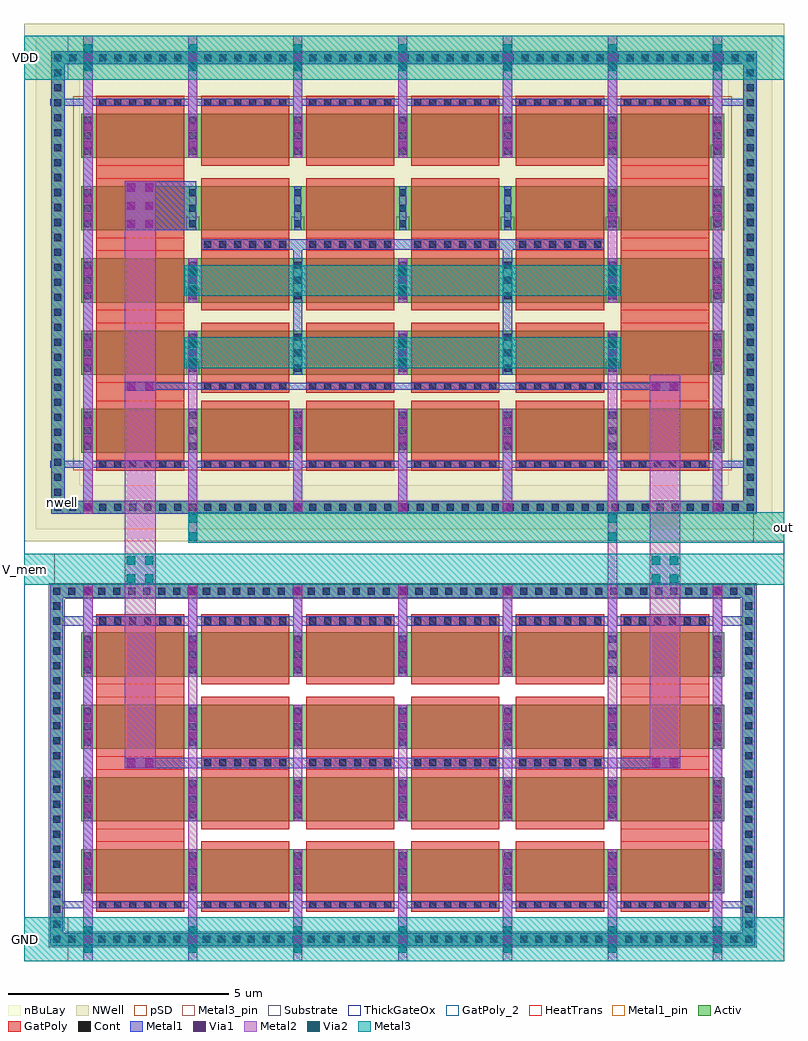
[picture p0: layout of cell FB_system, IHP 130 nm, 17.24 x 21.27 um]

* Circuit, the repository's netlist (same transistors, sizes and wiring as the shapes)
** sch_path: /foss/designs/adex_neuron/chenxi_working/ttihp26a-adex-neuron-ncs/xschem/FB_system.sch
.subckt FB_system VDD out V_mem GND nwell psub
*.PININFO out:O V_mem:B VDD:B GND:B nwell:B psub:B
Mmirr Vmir Vmir VDD nwell sg13_hv_pmos w=4u l=2u ng=4
Mmirl4 V_mem Vmir net1 nwell sg13_hv_pmos w=1u l=2u ng=1
Mthr out V_mem Vmir nwell sg13_hv_pmos w=4u l=2u ng=4
Mmem1 out V_mem net2 psub sg13_hv_nmos w=1u l=2u ng=1 m=2
Mmirl3 net1 Vmir net3 nwell sg13_hv_pmos w=1u l=2u ng=1
Mmirl2 net3 Vmir net4 nwell sg13_hv_pmos w=1u l=2u ng=1
Mmirl1 net4 Vmir VDD nwell sg13_hv_pmos w=1u l=2u ng=1
Mmem2 net2 V_mem net5 psub sg13_hv_nmos w=1u l=2u ng=1 m=2
Mmem3 net5 V_mem net6 psub sg13_hv_nmos w=1u l=2u ng=1 m=2
Mmem4 net6 V_mem GND psub sg13_hv_nmos w=1u l=2u ng=1 m=2
Mdum1 GND GND GND psub sg13_hv_nmos w=6u l=2u ng=6 m=2
Mdum2 GND GND GND psub sg13_hv_nmos w=1u l=2u ng=1 m=2
Mdum3 out GND GND psub sg13_hv_nmos w=1u l=2u ng=1 m=2
Mdum4 VDD VDD VDD nwell sg13_hv_pmos w=6u l=2u ng=6 m=2
Mdum5 VDD VDD VDD nwell sg13_hv_pmos w=1u l=2u ng=1 m=3
Mdum6 out VDD VDD nwell sg13_hv_pmos w=1u l=2u ng=1 m=2
Mdum7 V_mem VDD VDD nwell sg13_hv_pmos w=1u l=2u ng=1
R1 VDD nwell ntap1 A=1.554e-11 P=0.0001036
R2 GND psub ptap1 A=1.416e-11 P=9.44e-05
.ends

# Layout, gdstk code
from math import pi, radians
import gdstk
lib = gdstk.Library(unit=1e-6, precision=1e-09)
def R(c, l, rs):  # rectangles x0, y0, x1, y1
    for r in rs: c.add(gdstk.rectangle(r[:2], r[2:], *l))
def A(c, l, x, y, w, h, nx, ny, dx, dy):  # array of equal rectangles
    R(c, l, [(x+i*dx, y+j*dy, x+i*dx+w, y+j*dy+h) for i in range(nx) for j in range(ny)])
def P(c, l, *ps):  # polygons
    for p in ps: c.add(gdstk.Polygon(p, *l))
Activ = (1, 0)
GatPoly = (5, 0)
GatPoly_2 = (5, 2)
Cont = (6, 0)
Metal1 = (8, 0)
Metal1_pin = (8, 2)
Metal2 = (10, 0)
pSD = (14, 0)
Via1 = (19, 0)
Via2 = (29, 0)
Metal3 = (30, 0)
Metal3_pin = (30, 2)
NWell = (31, 0)
nBuLay = (32, 0)
Substrate = (40, 0)
ThickGateOx = (44, 0)
HeatTrans = (51, 0)

pmoshv = lib.new_cell('pmosHV')
R(pmoshv, Activ, [(0,0,0.3,0.3), (0,0,2.68,1), (2.38,0,2.68,0.3)])
R(pmoshv, GatPoly, [(0.34,-0.18,2.34,1.18)])
R(pmoshv, GatPoly_2, [(0.34,-0.18,2.34,1.18)])
A(pmoshv, Cont, 0.07, 0.07, 0.16, 0.16, 1, 3, 0, 0.35)
A(pmoshv, Cont, 2.45, 0.07, 0.16, 0.16, 1, 3, 0, 0.35)
R(pmoshv, Metal1, [(0.07,0,0.23,1), (2.45,0,2.61,1)])
R(pmoshv, Metal1_pin, [(0.07,0,0.23,1), (2.45,0,2.61,1)])
R(pmoshv, pSD, [(-0.18,-0.4,2.86,1.4)])
R(pmoshv, NWell, [(-0.62,-0.62,3.3,1.62)])
R(pmoshv, Substrate, [(2.38,0,2.68,0.3)])
R(pmoshv, ThickGateOx, [(-0.62,-0.62,3.3,1.62)])
R(pmoshv, HeatTrans, [(0.34,-0.18,2.34,1.18)])
pmoshv.add(gdstk.Label('pmosHV', (1.34,0.5), layer=63, texttype=0))
pmoshv.add(gdstk.Label('pmos', (1.34,0.5), layer=51, texttype=0))

nmoshv_1 = lib.new_cell('nmosHV$1')
R(nmoshv_1, Activ, [(0,0,0.3,0.3), (0,0,2.68,1), (2.38,0,2.68,0.3)])
R(nmoshv_1, GatPoly, [(0.34,-0.18,2.34,1.18)])
R(nmoshv_1, GatPoly_2, [(0.34,-0.18,2.34,1.18)])
A(nmoshv_1, Cont, 0.07, 0.07, 0.16, 0.16, 1, 3, 0, 0.35)
A(nmoshv_1, Cont, 2.45, 0.07, 0.16, 0.16, 1, 3, 0, 0.35)
R(nmoshv_1, Metal1, [(0.07,0,0.23,1), (2.45,0,2.61,1)])
R(nmoshv_1, Metal1_pin, [(0.07,0,0.23,1), (2.45,0,2.61,1)])
R(nmoshv_1, ThickGateOx, [(-0.27,-0.52,2.95,1.52)])
R(nmoshv_1, HeatTrans, [(0.34,-0.18,2.34,1.18)])
nmoshv_1.add(gdstk.Label('nmosHV', (1.34,0.5), layer=63, texttype=0))
nmoshv_1.add(gdstk.Label('nmosHV', (1.34,0.5), layer=51, texttype=0))

pmoshv_1 = lib.new_cell('pmosHV$1')
A(pmoshv_1, Activ, 0, 0, 0.3, 0.3, 5, 1, 2.38, 0)
R(pmoshv_1, Activ, [(0,0,9.82,1)])
A(pmoshv_1, GatPoly, 0.34, -0.18, 2, 1.36, 4, 1, 2.38, 0)
R(pmoshv_1, GatPoly_2, [(0.34,-0.18,2.34,1.18)])
A(pmoshv_1, Cont, 0.07, 0.07, 0.16, 0.16, 5, 3, 2.38, 0.35)
A(pmoshv_1, Metal1, 0.07, 0, 0.16, 1, 5, 1, 2.38, 0)
R(pmoshv_1, Metal1_pin, [(0.07,0,0.23,1), (2.45,0,2.61,1)])
R(pmoshv_1, pSD, [(-0.18,-0.4,10,1.4)])
R(pmoshv_1, NWell, [(-0.62,-0.62,10.44,1.62)])
R(pmoshv_1, Substrate, [(9.52,0,9.82,0.3)])
R(pmoshv_1, ThickGateOx, [(-0.62,-0.62,10.44,1.62)])
A(pmoshv_1, HeatTrans, 0.34, -0.18, 2, 1.36, 4, 1, 2.38, 0)
pmoshv_1.add(gdstk.Label('pmosHV', (1.34,0.5), layer=63, texttype=0))
pmoshv_1.add(gdstk.Label('pmos', (1.34,0.5), layer=51, texttype=0))
pmoshv_1.add(gdstk.Label('pmos', (3.72,0.5), layer=51, texttype=0))
pmoshv_1.add(gdstk.Label('pmos', (6.1,0.5), layer=51, texttype=0))
pmoshv_1.add(gdstk.Label('pmos', (8.48,0.5), layer=51, texttype=0))

via_stack_2 = lib.new_cell('via_stack$2')
R(via_stack_2, Metal1, [(-0.105,-0.35,0.105,0.35)])
R(via_stack_2, Metal2, [(-0.1,-0.35,0.1,0.35)])
R(via_stack_2, Via1, [(-0.095,-0.3,0.095,-0.11), (-0.095,0.11,0.095,0.3)])

pmoshv_3 = lib.new_cell('pmosHV$3')
A(pmoshv_3, Activ, 0, 0, 0.3, 0.3, 7, 1, 2.38, 0)
R(pmoshv_3, Activ, [(0,0,14.58,1)])
A(pmoshv_3, GatPoly, 0.34, -0.18, 2, 1.36, 6, 1, 2.38, 0)
R(pmoshv_3, GatPoly_2, [(0.34,-0.18,2.34,1.18)])
A(pmoshv_3, Cont, 0.07, 0.07, 0.16, 0.16, 7, 3, 2.38, 0.35)
A(pmoshv_3, Metal1, 0.07, 0, 0.16, 1, 7, 1, 2.38, 0)
R(pmoshv_3, Metal1_pin, [(0.07,0,0.23,1), (2.45,0,2.61,1)])
R(pmoshv_3, pSD, [(-0.18,-0.4,14.76,1.4)])
R(pmoshv_3, NWell, [(-0.62,-0.62,15.2,1.62)])
R(pmoshv_3, Substrate, [(14.28,0,14.58,0.3)])
R(pmoshv_3, ThickGateOx, [(-0.62,-0.62,15.2,1.62)])
A(pmoshv_3, HeatTrans, 0.34, -0.18, 2, 1.36, 6, 1, 2.38, 0)
pmoshv_3.add(gdstk.Label('pmosHV', (1.34,0.5), layer=63, texttype=0))
pmoshv_3.add(gdstk.Label('pmos', (1.34,0.5), layer=51, texttype=0))
pmoshv_3.add(gdstk.Label('pmos', (3.72,0.5), layer=51, texttype=0))
pmoshv_3.add(gdstk.Label('pmos', (6.1,0.5), layer=51, texttype=0))
pmoshv_3.add(gdstk.Label('pmos', (8.48,0.5), layer=51, texttype=0))
pmoshv_3.add(gdstk.Label('pmos', (10.86,0.5), layer=51, texttype=0))
pmoshv_3.add(gdstk.Label('pmos', (13.24,0.5), layer=51, texttype=0))

nmoshv_2 = lib.new_cell('nmosHV$2')
A(nmoshv_2, Activ, 0, 0, 0.3, 0.3, 7, 1, 2.38, 0)
R(nmoshv_2, Activ, [(0,0,14.58,1)])
A(nmoshv_2, GatPoly, 0.34, -0.18, 2, 1.36, 6, 1, 2.38, 0)
R(nmoshv_2, GatPoly_2, [(0.34,-0.18,2.34,1.18)])
A(nmoshv_2, Cont, 0.07, 0.07, 0.16, 0.16, 7, 3, 2.38, 0.35)
A(nmoshv_2, Metal1, 0.07, 0, 0.16, 1, 7, 1, 2.38, 0)
R(nmoshv_2, Metal1_pin, [(0.07,0,0.23,1), (2.45,0,2.61,1)])
R(nmoshv_2, ThickGateOx, [(-0.27,-0.52,14.85,1.52)])
A(nmoshv_2, HeatTrans, 0.34, -0.18, 2, 1.36, 6, 1, 2.38, 0)
nmoshv_2.add(gdstk.Label('nmosHV', (1.34,0.5), layer=63, texttype=0))
nmoshv_2.add(gdstk.Label('nmosHV', (1.34,0.5), layer=51, texttype=0))
nmoshv_2.add(gdstk.Label('nmosHV', (3.72,0.5), layer=51, texttype=0))
nmoshv_2.add(gdstk.Label('nmosHV', (6.1,0.5), layer=51, texttype=0))
nmoshv_2.add(gdstk.Label('nmosHV', (8.48,0.5), layer=51, texttype=0))
nmoshv_2.add(gdstk.Label('nmosHV', (10.86,0.5), layer=51, texttype=0))
nmoshv_2.add(gdstk.Label('nmosHV', (13.24,0.5), layer=51, texttype=0))

guard_ring = lib.new_cell('guard_ring')
R(guard_ring, Activ, [(-8,-3.8,-7.7,3.8), (7.7,-3.8,8,3.8), (-8,3.8,8,4.1)])
P(guard_ring, Activ, [(-8,-4.1),(-8,3.8),(-7.7,3.8),(-7.7,-3.8),(7.7,-3.8),(7.7,3.8),(-8,3.8),(-8,4.1),(8,4.1),(8,-4.1)])
A(guard_ring, Cont, -7.93, -4.03, 0.16, 0.16, 23, 2, 0.34, 7.9)
A(guard_ring, Cont, -0.05, -4.03, 0.16, 0.16, 24, 2, 0.34, 7.9)
A(guard_ring, Cont, -7.93, -3.69, 0.16, 0.16, 1, 11, 0, 0.34)
A(guard_ring, Cont, 7.77, -3.69, 0.16, 0.16, 1, 11, 0, 0.34)
A(guard_ring, Cont, -7.93, 0.13, 0.16, 0.16, 1, 11, 0, 0.34)
A(guard_ring, Cont, 7.77, 0.13, 0.16, 0.16, 1, 11, 0, 0.34)
R(guard_ring, Metal1, [(-8,-4.1,8,-3.8), (-8,-3.8,-7.7,3.8), (7.7,-3.8,8,3.8), (-8,3.8,8,4.1)])
R(guard_ring, pSD, [(-8.03,-3.77,-7.67,3.77), (7.67,-3.77,8.03,3.77), (-8.03,3.77,8.03,4.13)])
P(guard_ring, pSD, [(-8.03,-4.13),(-8.03,3.77),(-7.67,3.77),(-7.67,-3.77),(7.67,-3.77),(7.67,3.77),(-8.03,3.77),(-8.03,4.13),(8.03,4.13),(8.03,-4.13)])
R(guard_ring, Substrate, [(-8.03,-3.77,-7.67,3.77), (7.67,-3.77,8.03,3.77), (-8.03,3.77,8.03,4.13)])
P(guard_ring, Substrate, [(-8.03,-4.13),(-8.03,3.77),(-7.67,3.77),(-7.67,-3.77),(7.67,-3.77),(7.67,3.77),(-8.03,3.77),(-8.03,4.13),(8.03,4.13),(8.03,-4.13)])
guard_ring.add(gdstk.Label('sub!', (0,-3.95), layer=63, texttype=0))

guard_ring_3 = lib.new_cell('guard_ring$3')
R(guard_ring_3, Activ, [(-8,-4.95,-7.7,4.95), (7.7,-4.95,8,4.95), (-8,4.95,8,5.25)])
P(guard_ring_3, Activ, [(-8,-5.25),(-8,4.95),(-7.7,4.95),(-7.7,-4.95),(7.7,-4.95),(7.7,4.95),(-8,4.95),(-8,5.25),(8,5.25),(8,-5.25)])
A(guard_ring_3, Cont, -7.93, -5.18, 0.16, 0.16, 23, 2, 0.34, 10.2)
A(guard_ring_3, Cont, -0.05, -5.18, 0.16, 0.16, 24, 2, 0.34, 10.2)
A(guard_ring_3, Cont, -7.93, -4.84, 0.16, 0.16, 1, 29, 0, 0.34)
A(guard_ring_3, Cont, 7.77, -4.84, 0.16, 0.16, 1, 29, 0, 0.34)
R(guard_ring_3, Metal1, [(-8,-5.25,8,-4.95), (-8,-4.95,-7.7,4.95), (7.7,-4.95,8,4.95), (-8,4.95,8,5.25)])
R(guard_ring_3, NWell, [(-8.35,-5.6,8.35,5.6)])
R(guard_ring_3, nBuLay, [(-8.35,-4.6,-7.35,4.6), (7.35,-4.6,8.35,4.6), (-8.35,4.6,8.35,5.6)])
P(guard_ring_3, nBuLay, [(-8.35,-5.6),(-8.35,4.6),(-7.35,4.6),(-7.35,-4.6),(7.35,-4.6),(7.35,4.6),(-8.35,4.6),(-8.35,5.6),(8.35,5.6),(8.35,-5.6)])
guard_ring_3.add(gdstk.Label('well', (0,-5.1), layer=63, texttype=0))

via_stack_4 = lib.new_cell('via_stack$4')
R(via_stack_4, Metal2, [(-0.1,-0.35,0.1,0.35)])
R(via_stack_4, Via2, [(-0.095,-0.3,0.095,-0.11), (-0.095,0.11,0.095,0.3)])
R(via_stack_4, Metal3, [(-0.1,-0.35,0.1,0.35)])

via_stack_6 = lib.new_cell('via_stack$6')
R(via_stack_6, Metal1, [(-0.145,-0.105,0.145,0.105)])
R(via_stack_6, Metal2, [(-0.145,-0.1,0.145,0.1)])
R(via_stack_6, Via1, [(-0.095,-0.095,0.095,0.095)])

via_stack = lib.new_cell('via_stack')
R(via_stack, GatPoly, [(-1,-0.15,1,0.15)])
A(via_stack, Cont, -0.93, -0.08, 0.16, 0.16, 6, 1, 0.34, 0)
R(via_stack, Metal1, [(-0.98,-0.08,0.98,0.08)])

via_stack_9 = lib.new_cell('via_stack$9')
R(via_stack_9, Metal1, [(-0.35,-0.105,0.35,0.105)])
R(via_stack_9, Metal2, [(-0.35,-0.1,0.35,0.1)])
R(via_stack_9, Via1, [(-0.3,-0.095,-0.11,0.095), (0.11,-0.095,0.3,0.095)])

via_stack_11 = lib.new_cell('via_stack$11')
R(via_stack_11, Metal1, [(-0.31,-0.555,0.31,0.555)])
R(via_stack_11, Metal2, [(-0.305,-0.555,0.305,0.555)])
A(via_stack_11, Via1, -0.3, -0.505, 0.19, 0.19, 1, 3, 0, 0.41)
A(via_stack_11, Via1, 0.11, -0.505, 0.19, 0.19, 1, 3, 0, 0.41)

via_stack_8 = lib.new_cell('via_stack$8')
R(via_stack_8, Metal2, [(-0.35,-0.305,0.35,0.305)])
R(via_stack_8, Via2, [(-0.3,-0.3,-0.11,-0.11), (0.11,-0.3,0.3,-0.11), (-0.3,0.11,-0.11,0.3), (0.11,0.11,0.3,0.3)])
R(via_stack_8, Metal3, [(-0.35,-0.305,0.35,0.305)])

fb_system = lib.new_cell('FB_system')
A(fb_system, GatPoly, 4.02, 2.5, 2, 3, 4, 2, 2.38, 11.765)
R(fb_system, GatPoly, [(1.64,0.86,3.64,7.14), (13.54,0.86,15.54,7.14), (1.64,10.625,3.64,19.135), (13.54,10.625,15.54,19.135)])
A(fb_system, Metal1, 1.345, 1.04, 0.21, 1, 7, 3, 2.38, 1.64)
A(fb_system, Metal1, 1.345, 5.96, 0.21, 1, 4, 1, 2.38, 0)
A(fb_system, Metal1, 6.105, 11.035, 0.21, 1, 3, 1, 2.38, 0)
A(fb_system, Metal1, 1.345, 12.805, 0.21, 1, 1, 3, 0, 1.64)
A(fb_system, Metal1, 15.625, 12.805, 0.21, 1, 1, 3, 0, 1.64)
A(fb_system, Metal1, 3.725, 14.445, 0.21, 1, 3, 1, 4.76, 0)
A(fb_system, Metal1, 1.345, 17.725, 0.21, 1, 7, 1, 2.38, 0)
R(fb_system, Metal1, [(8.485,5.96,8.695,6.96), (10.865,5.96,11.075,6.96), (10.865,5.96,11.075,6.96), (15.625,5.96,15.835,6.96), (15.625,5.96,15.835,6.96), (1.345,11.035,1.555,12.035), (15.625,11.035,15.835,12.035), (3.725,12.805,3.935,13.805), (8.485,12.805,8.695,13.805), (8.485,12.805,8.695,13.805), (13.245,12.805,13.455,13.805), (2.285,16.085,3.91,17.195), (13.245,16.085,13.455,17.085)])
A(fb_system, Metal2, 3.725, 14.445, 0.21, 1, 3, 1, 4.76, 0)
R(fb_system, Metal2, [(8.485,12.805,8.695,13.805)])
R(fb_system, Metal3_pin, [(0,-0.5,1,0.5), (0,8.04,0.7,8.74), (16.54,8.99,17.24,9.69), (0,19.5,1,20.5)])
R(fb_system, NWell, [(0,9.025,17.24,20.77)])
R(fb_system, ThickGateOx, [(0,-0.5,17.24,20.5)])
fb_system.add(gdstk.FlexPath([(2.285,4),(14.89,4)], 0.24, ends="flush", simple_path=True, layer=8, datatype=0))  # Metal1
fb_system.add(gdstk.FlexPath([(4.02,15.765),(13.16,15.765)], 0.24, ends="flush", simple_path=True, layer=8, datatype=0))  # Metal1
fb_system.add(gdstk.FlexPath([(2.285,12.545),(14.89,12.545)], 0.16, ends="flush", simple_path=True, layer=8, datatype=0))  # Metal1
fb_system.add(gdstk.FlexPath([(0.59,7.22),(16.59,7.22)], 0.21, ends="flush", simple_path=True, layer=8, datatype=0))  # Metal1
fb_system.add(gdstk.FlexPath([(0.59,0.78),(16.59,0.78)], 0.16, ends="flush", simple_path=True, layer=8, datatype=0))  # Metal1
fb_system.add(gdstk.FlexPath([(15.73,8.05),(15.73,5.96)], 0.21, ends="flush", simple_path=True, layer=8, datatype=0))  # Metal1
fb_system.add(gdstk.FlexPath([(3.83,5.96),(3.83,8.05)], 0.21, ends="flush", simple_path=True, layer=8, datatype=0))  # Metal1
fb_system.add(gdstk.FlexPath([(6.21,5.96),(6.21,8.05)], 0.21, ends="flush", simple_path=True, layer=8, datatype=0))  # Metal1
fb_system.add(gdstk.FlexPath([(8.59,5.96),(8.59,8.05)], 0.21, ends="flush", simple_path=True, layer=8, datatype=0))  # Metal1
fb_system.add(gdstk.FlexPath([(10.97,5.96),(10.97,8.05)], 0.21, ends="flush", simple_path=True, layer=8, datatype=0))  # Metal1
fb_system.add(gdstk.FlexPath([(1.45,2.04),(1.45,0)], 0.21, ends="flush", simple_path=True, layer=8, datatype=0))  # Metal1
fb_system.add(gdstk.FlexPath([(1.45,8.05),(1.45,-0.15)], 0.21, ends="flush", simple_path=True, layer=8, datatype=0))  # Metal1
fb_system.add(gdstk.FlexPath([(15.73,2.04),(15.73,0)], 0.21, ends="flush", simple_path=True, layer=8, datatype=0))  # Metal1
fb_system.add(gdstk.FlexPath([(3.83,0),(3.83,2.04)], 0.21, ends="flush", simple_path=True, layer=8, datatype=0))  # Metal1
fb_system.add(gdstk.FlexPath([(6.21,0),(6.21,2.04)], 0.21, ends="flush", simple_path=True, layer=8, datatype=0))  # Metal1
fb_system.add(gdstk.FlexPath([(8.59,0),(8.59,2.04)], 0.21, ends="flush", simple_path=True, layer=8, datatype=0))  # Metal1
fb_system.add(gdstk.FlexPath([(10.97,0),(10.97,2.04)], 0.21, ends="flush", simple_path=True, layer=8, datatype=0))  # Metal1
fb_system.add(gdstk.FlexPath([(13.35,0),(13.35,2.04)], 0.21, ends="flush", simple_path=True, layer=8, datatype=0))  # Metal1
fb_system.add(gdstk.FlexPath([(8.59,0),(8.59,2.04)], 0.21, ends="flush", simple_path=True, layer=8, datatype=0))  # Metal1
fb_system.add(gdstk.FlexPath([(6.21,0),(6.21,2.04)], 0.21, ends="flush", simple_path=True, layer=8, datatype=0))  # Metal1
fb_system.add(gdstk.FlexPath([(3.83,0),(3.83,2.04)], 0.21, ends="flush", simple_path=True, layer=8, datatype=0))  # Metal1
fb_system.add(gdstk.FlexPath([(8.59,5.96),(8.59,8.05)], 0.21, ends="flush", simple_path=True, layer=8, datatype=0))  # Metal1
fb_system.add(gdstk.FlexPath([(10.97,5.96),(10.97,8.05)], 0.21, ends="flush", simple_path=True, layer=8, datatype=0))  # Metal1
fb_system.add(gdstk.FlexPath([(13.35,5.96),(13.35,8.05)], 0.21, ends="flush", simple_path=True, layer=8, datatype=0))  # Metal1
fb_system.add(gdstk.FlexPath([(15.73,-0.15),(15.73,8.05)], 0.21, ends="flush", simple_path=True, layer=8, datatype=0))  # Metal1
fb_system.add(gdstk.FlexPath([(6.21,12.805),(6.21,15.885)], 0.21, ends="flush", simple_path=True, layer=8, datatype=0))  # Metal1
fb_system.add(gdstk.FlexPath([(10.97,12.805),(10.97,15.885)], 0.21, ends="flush", simple_path=True, layer=8, datatype=0))  # Metal1
fb_system.add(gdstk.FlexPath([(15.73,9.65),(15.73,20.15)], 0.21, ends="flush", simple_path=True, layer=8, datatype=0))  # Metal1
fb_system.add(gdstk.FlexPath([(1.45,9.65),(1.45,20.15)], 0.21, ends="flush", simple_path=True, layer=8, datatype=0))  # Metal1
fb_system.add(gdstk.FlexPath([(10.97,12.035),(10.97,9.65)], 0.21, ends="flush", simple_path=True, layer=8, datatype=0))  # Metal1
fb_system.add(gdstk.FlexPath([(8.59,12.035),(8.59,9.65)], 0.21, ends="flush", simple_path=True, layer=8, datatype=0))  # Metal1
fb_system.add(gdstk.FlexPath([(6.21,12.035),(6.21,9.65)], 0.21, ends="flush", simple_path=True, layer=8, datatype=0))  # Metal1
fb_system.add(gdstk.FlexPath([(3.83,12.035),(3.83,9.65)], 0.21, ends="flush", simple_path=True, layer=8, datatype=0))  # Metal1
fb_system.add(gdstk.FlexPath([(13.35,12.035),(13.35,9.65)], 0.21, ends="flush", simple_path=True, layer=8, datatype=0))  # Metal1
fb_system.add(gdstk.FlexPath([(3.83,17.725),(3.83,20.15)], 0.21, ends="flush", simple_path=True, layer=8, datatype=0))  # Metal1
fb_system.add(gdstk.FlexPath([(6.21,17.725),(6.21,20.15)], 0.21, ends="flush", simple_path=True, layer=8, datatype=0))  # Metal1
fb_system.add(gdstk.FlexPath([(8.59,17.725),(8.59,20.15)], 0.21, ends="flush", simple_path=True, layer=8, datatype=0))  # Metal1
fb_system.add(gdstk.FlexPath([(10.97,17.725),(10.97,20.15)], 0.21, ends="flush", simple_path=True, layer=8, datatype=0))  # Metal1
fb_system.add(gdstk.FlexPath([(13.35,16.085),(13.35,20.15)], 0.21, ends="flush", simple_path=True, layer=8, datatype=0))  # Metal1
fb_system.add(gdstk.FlexPath([(0.59,18.985),(16.59,18.985)], 0.16, ends="flush", simple_path=True, layer=8, datatype=0))  # Metal1
fb_system.add(gdstk.FlexPath([(0.59,10.775),(16.59,10.775)], 0.16, ends="flush", simple_path=True, layer=8, datatype=0))  # Metal1
fb_system.add(gdstk.FlexPath([(6.21,5.32),(6.21,2.68)], 0.21, ends="flush", simple_path=True, layer=10, datatype=0))  # Metal2
fb_system.add(gdstk.FlexPath([(3.83,5.32),(3.83,2.68)], 0.21, ends="flush", simple_path=True, layer=10, datatype=0))  # Metal2
fb_system.add(gdstk.FlexPath([(8.59,5.32),(8.59,2.68)], 0.21, ends="flush", simple_path=True, layer=10, datatype=0))  # Metal2
fb_system.add(gdstk.FlexPath([(10.97,5.32),(10.97,2.68)], 0.21, ends="flush", simple_path=True, layer=10, datatype=0))  # Metal2
fb_system.add(gdstk.FlexPath([(1.45,8.05),(1.45,-0.5)], 0.21, ends="flush", simple_path=True, layer=10, datatype=0))  # Metal2
fb_system.add(gdstk.FlexPath([(15.73,8.05),(15.73,-0.5)], 0.21, ends="flush", simple_path=True, layer=10, datatype=0))  # Metal2
fb_system.add(gdstk.FlexPath([(13.35,2.04),(13.35,-0.5)], 0.21, ends="flush", simple_path=True, layer=10, datatype=0))  # Metal2
fb_system.add(gdstk.FlexPath([(10.97,2.04),(10.97,-0.5)], 0.21, ends="flush", simple_path=True, layer=10, datatype=0))  # Metal2
fb_system.add(gdstk.FlexPath([(8.59,2.04),(8.59,-0.5)], 0.21, ends="flush", simple_path=True, layer=10, datatype=0))  # Metal2
fb_system.add(gdstk.FlexPath([(6.21,2.04),(6.21,-0.5)], 0.21, ends="flush", simple_path=True, layer=10, datatype=0))  # Metal2
fb_system.add(gdstk.FlexPath([(3.83,2.04),(3.83,-0.5)], 0.21, ends="flush", simple_path=True, layer=10, datatype=0))  # Metal2
fb_system.add(gdstk.FlexPath([(3.83,8.05),(3.83,-0.5)], 0.21, ends="flush", simple_path=True, layer=10, datatype=0))  # Metal2
fb_system.add(gdstk.FlexPath([(6.21,5.96),(6.21,8.05)], 0.21, ends="flush", simple_path=True, layer=10, datatype=0))  # Metal2
fb_system.add(gdstk.FlexPath([(8.59,5.96),(8.59,8.05)], 0.21, ends="flush", simple_path=True, layer=10, datatype=0))  # Metal2
fb_system.add(gdstk.FlexPath([(10.97,5.96),(10.97,8.05)], 0.21, ends="flush", simple_path=True, layer=10, datatype=0))  # Metal2
fb_system.add(gdstk.FlexPath([(13.35,13.805),(13.35,2.68)], 0.21, ends="flush", simple_path=True, layer=10, datatype=0))  # Metal2
fb_system.add(gdstk.FlexPath([(2.635,3.88),(2.635,17.195)], 0.7, ends="flush", simple_path=True, layer=10, datatype=0))  # Metal2
fb_system.add(gdstk.FlexPath([(14.54,3.88),(14.54,12.805)], 0.7, ends="flush", simple_path=True, layer=10, datatype=0))  # Metal2
fb_system.add(gdstk.FlexPath([(3.83,13.805),(3.83,8.99)], 0.21, ends="flush", simple_path=True, layer=10, datatype=0))  # Metal2
fb_system.add(gdstk.FlexPath([(3.83,17.725),(3.83,20.5)], 0.21, ends="flush", simple_path=True, layer=10, datatype=0))  # Metal2
fb_system.add(gdstk.FlexPath([(6.21,17.725),(6.21,20.5)], 0.21, ends="flush", simple_path=True, layer=10, datatype=0))  # Metal2
fb_system.add(gdstk.FlexPath([(8.59,17.725),(8.59,20.5)], 0.21, ends="flush", simple_path=True, layer=10, datatype=0))  # Metal2
fb_system.add(gdstk.FlexPath([(10.97,17.725),(10.97,20.5)], 0.21, ends="flush", simple_path=True, layer=10, datatype=0))  # Metal2
fb_system.add(gdstk.FlexPath([(15.73,9.65),(15.73,20.5)], 0.21, ends="flush", simple_path=True, layer=10, datatype=0))  # Metal2
fb_system.add(gdstk.FlexPath([(1.45,9.65),(1.45,20.5)], 0.21, ends="flush", simple_path=True, layer=10, datatype=0))  # Metal2
fb_system.add(gdstk.FlexPath([(10.97,12.035),(10.97,9.65)], 0.21, ends="flush", simple_path=True, layer=10, datatype=0))  # Metal2
fb_system.add(gdstk.FlexPath([(8.59,12.035),(8.59,9.65)], 0.21, ends="flush", simple_path=True, layer=10, datatype=0))  # Metal2
fb_system.add(gdstk.FlexPath([(6.21,12.035),(6.21,9.65)], 0.21, ends="flush", simple_path=True, layer=10, datatype=0))  # Metal2
fb_system.add(gdstk.FlexPath([(13.35,14.445),(13.35,20.5)], 0.21, ends="flush", simple_path=True, layer=10, datatype=0))  # Metal2
fb_system.add(gdstk.FlexPath([(17.24,8.39),(0,8.39)], 0.7, ends="flush", simple_path=True, layer=30, datatype=0))  # Metal3
fb_system.add(gdstk.FlexPath([(3.725,9.34),(17.24,9.34)], 0.7, ends="flush", simple_path=True, layer=30, datatype=0))  # Metal3
fb_system.add(gdstk.FlexPath([(3.64,14.945),(13.54,14.945)], 0.7, ends="flush", simple_path=True, layer=30, datatype=0))  # Metal3
fb_system.add(gdstk.FlexPath([(3.64,13.305),(13.54,13.305)], 0.7, ends="flush", simple_path=True, layer=30, datatype=0))  # Metal3
fb_system.add(gdstk.FlexPath([(0,0),(17.24,0)], 1, ends="flush", simple_path=True, layer=30, datatype=0))  # Metal3
fb_system.add(gdstk.FlexPath([(0,20),(17.24,20)], 1, ends="flush", simple_path=True, layer=30, datatype=0))  # Metal3
fb_system.add(gdstk.Reference(pmoshv, (6.06,16.085)))
fb_system.add(gdstk.Reference(pmoshv, (8.44,16.085)))
fb_system.add(gdstk.Reference(nmoshv_1, (6.06,4.32)))
fb_system.add(gdstk.Reference(nmoshv_1, (8.44,4.32)))
fb_system.add(gdstk.Reference(nmoshv_1, (6.06,2.68)))
fb_system.add(gdstk.Reference(nmoshv_1, (8.44,2.68)))
fb_system.add(gdstk.Reference(pmoshv_1, (3.68,12.805)))
fb_system.add(gdstk.Reference(via_stack_2, (8.59,3.18)))
fb_system.add(gdstk.Reference(via_stack_2, (8.59,4.82)))
fb_system.add(gdstk.Reference(pmoshv_3, (1.3,11.035)))
fb_system.add(gdstk.Reference(pmoshv_3, (1.3,17.725)))
fb_system.add(gdstk.Reference(pmoshv_1, (3.68,14.445)))
fb_system.add(gdstk.Reference(nmoshv_2, (1.3,5.96)))
fb_system.add(gdstk.Reference(guard_ring, (8.59,3.95)))
fb_system.add(gdstk.Reference(guard_ring_3, (8.62,14.9)))
fb_system.add(gdstk.Reference(nmoshv_2, (1.3,1.04)))
fb_system.add(gdstk.Reference(via_stack_2, (8.59,1.54)))
fb_system.add(gdstk.Reference(via_stack_4, (8.59,0)))
fb_system.add(gdstk.Reference(via_stack_6, (8.59,0), rotation=pi/2))
fb_system.add(gdstk.Reference(via_stack_2, (8.59,6.46)))
fb_system.add(gdstk.Reference(via_stack_6, (8.59,7.9), rotation=pi/2))
fb_system.add(gdstk.Reference(via_stack_2, (8.59,13.305)))
fb_system.add(gdstk.Reference(via_stack_4, (8.59,13.305)))
fb_system.add(gdstk.Reference(via_stack_2, (8.59,13.305)))
fb_system.add(gdstk.Reference(via_stack_4, (8.59,14.945)))
fb_system.add(gdstk.Reference(via_stack_2, (8.59,14.945)))
fb_system.add(gdstk.Reference(via_stack_4, (8.59,20)))
fb_system.add(gdstk.Reference(via_stack_6, (8.59,20), rotation=pi/2))
fb_system.add(gdstk.Reference(via_stack_2, (8.59,18.225)))
fb_system.add(gdstk.Reference(via_stack_2, (8.59,11.535)))
fb_system.add(gdstk.Reference(via_stack_6, (8.59,9.8), rotation=pi/2))
fb_system.add(gdstk.Reference(via_stack, (12.16,15.765)))
fb_system.add(gdstk.Reference(via_stack_4, (13.35,13.305)))
fb_system.add(gdstk.Reference(via_stack_9, (14.54,12.545)))
fb_system.add(gdstk.Reference(via_stack, (9.78,15.765)))
fb_system.add(gdstk.Reference(via_stack_2, (13.35,14.945)))
fb_system.add(gdstk.Reference(pmoshv, (10.82,16.085)))
fb_system.add(gdstk.Reference(via_stack_4, (13.35,14.945)))
fb_system.add(gdstk.Reference(pmoshv, (13.2,12.805)))
fb_system.add(gdstk.Reference(via_stack_4, (15.73,20)))
fb_system.add(gdstk.Reference(via_stack_6, (15.73,20), rotation=pi/2))
fb_system.add(gdstk.Reference(pmoshv, (13.2,14.445)))
fb_system.add(gdstk.Reference(pmoshv, (13.2,16.085)))
fb_system.add(gdstk.Reference(via_stack, (9.78,12.545)))
fb_system.add(gdstk.Reference(via_stack_4, (10.97,20)))
fb_system.add(gdstk.Reference(via_stack_6, (10.97,20), rotation=pi/2))
fb_system.add(gdstk.Reference(via_stack_2, (10.97,18.225)))
fb_system.add(gdstk.Reference(via_stack_4, (13.35,20)))
fb_system.add(gdstk.Reference(via_stack_6, (13.35,20), rotation=pi/2))
fb_system.add(gdstk.Reference(via_stack_2, (13.35,18.225)))
fb_system.add(gdstk.Reference(via_stack_2, (15.73,18.225)))
fb_system.add(gdstk.Reference(via_stack_2, (15.73,16.585)))
fb_system.add(gdstk.Reference(via_stack_2, (15.73,14.945)))
fb_system.add(gdstk.Reference(via_stack_2, (15.73,13.305)))
fb_system.add(gdstk.Reference(via_stack_2, (13.35,16.585)))
fb_system.add(gdstk.Reference(via_stack_2, (15.73,11.535)))
fb_system.add(gdstk.Reference(via_stack_2, (10.97,11.535)))
fb_system.add(gdstk.Reference(via_stack_2, (13.35,13.305)))
fb_system.add(gdstk.Reference(via_stack, (12.16,12.545)))
fb_system.add(gdstk.Reference(via_stack, (12.16,18.985)))
fb_system.add(gdstk.Reference(via_stack, (14.54,18.985)))
fb_system.add(gdstk.Reference(via_stack, (9.78,18.985)))
fb_system.add(gdstk.Reference(via_stack, (12.16,10.775)))
fb_system.add(gdstk.Reference(via_stack, (14.54,10.775)))
fb_system.add(gdstk.Reference(via_stack, (9.78,10.775)))
fb_system.add(gdstk.Reference(via_stack_6, (3.83,20), rotation=pi/2))
fb_system.add(gdstk.Reference(via_stack_11, (2.635,16.64)))
fb_system.add(gdstk.Reference(via_stack_2, (3.83,18.225)))
fb_system.add(gdstk.Reference(via_stack_4, (3.83,14.945)))
fb_system.add(gdstk.Reference(via_stack, (5.02,12.545)))
fb_system.add(gdstk.Reference(via_stack_2, (3.83,14.945)))
fb_system.add(gdstk.Reference(via_stack_4, (1.45,20)))
fb_system.add(gdstk.Reference(pmoshv, (1.3,12.805)))
fb_system.add(gdstk.Reference(via_stack_2, (3.83,13.305)))
fb_system.add(gdstk.Reference(pmoshv, (1.3,14.445)))
fb_system.add(gdstk.Reference(pmoshv, (3.68,16.085)))
fb_system.add(gdstk.Reference(via_stack_6, (1.45,20), rotation=pi/2))
fb_system.add(gdstk.Reference(via_stack_4, (1.45,20)))
fb_system.add(gdstk.Reference(via_stack_6, (1.45,20), rotation=pi/2))
fb_system.add(gdstk.Reference(via_stack_2, (1.45,18.225)))
fb_system.add(gdstk.Reference(via_stack_2, (1.45,16.585)))
fb_system.add(gdstk.Reference(via_stack_2, (1.45,14.945)))
fb_system.add(gdstk.Reference(via_stack_2, (1.45,13.305)))
fb_system.add(gdstk.Reference(via_stack_2, (1.45,11.535)))
fb_system.add(gdstk.Reference(via_stack_4, (3.83,13.305)))
fb_system.add(gdstk.Reference(via_stack_4, (6.21,20)))
fb_system.add(gdstk.Reference(via_stack_6, (6.21,20), rotation=pi/2))
fb_system.add(gdstk.Reference(via_stack_2, (6.21,18.225)))
fb_system.add(gdstk.Reference(via_stack_2, (6.21,11.535)))
fb_system.add(gdstk.Reference(pmoshv, (1.3,16.085)))
fb_system.add(gdstk.Reference(via_stack, (7.4,12.545)))
fb_system.add(gdstk.Reference(via_stack, (7.4,18.985)))
fb_system.add(gdstk.Reference(via_stack_9, (2.635,12.545)))
fb_system.add(gdstk.Reference(via_stack, (2.64,18.985)))
fb_system.add(gdstk.Reference(via_stack, (5.02,18.985)))
fb_system.add(gdstk.Reference(via_stack, (7.4,15.765)))
fb_system.add(gdstk.Reference(via_stack, (5.02,15.765)))
fb_system.add(gdstk.Reference(via_stack, (7.4,10.775)))
fb_system.add(gdstk.Reference(via_stack_4, (3.83,20)))
fb_system.add(gdstk.Reference(via_stack, (2.64,10.775)))
fb_system.add(gdstk.Reference(via_stack, (5.02,10.775)))
fb_system.add(gdstk.Reference(via_stack_2, (6.21,6.46)))
fb_system.add(gdstk.Reference(via_stack_6, (6.21,7.9), rotation=pi/2))
fb_system.add(gdstk.Reference(via_stack_2, (3.83,4.82)))
fb_system.add(gdstk.Reference(via_stack, (5.02,4)))
fb_system.add(gdstk.Reference(via_stack_9, (2.635,4)))
fb_system.add(gdstk.Reference(via_stack_8, (2.635,8.39)))
fb_system.add(gdstk.Reference(via_stack_4, (3.83,9.34)))
fb_system.add(gdstk.Reference(via_stack_2, (3.83,6.46)))
fb_system.add(gdstk.Reference(via_stack_2, (1.45,4.82)))
fb_system.add(gdstk.Reference(nmoshv_1, (3.68,2.68)))
fb_system.add(gdstk.Reference(via_stack, (5.02,7.22)))
fb_system.add(gdstk.Reference(via_stack, (2.64,7.22)))
fb_system.add(gdstk.Reference(via_stack, (7.4,7.22)))
fb_system.add(gdstk.Reference(via_stack, (5.02,0.78)))
fb_system.add(gdstk.Reference(via_stack, (2.64,0.78)))
fb_system.add(gdstk.Reference(via_stack_6, (1.45,9.8), rotation=pi/2))
fb_system.add(gdstk.Reference(via_stack, (7.4,0.78)))
fb_system.add(gdstk.Reference(via_stack_2, (1.45,3.18)))
fb_system.add(gdstk.Reference(via_stack_2, (1.45,1.54)))
fb_system.add(gdstk.Reference(nmoshv_1, (3.68,4.32)))
fb_system.add(gdstk.Reference(via_stack_2, (1.45,6.46)))
fb_system.add(gdstk.Reference(nmoshv_1, (1.3,2.68)))
fb_system.add(gdstk.Reference(nmoshv_1, (1.3,4.32)))
fb_system.add(gdstk.Reference(via_stack_4, (1.45,0)))
fb_system.add(gdstk.Reference(via_stack_6, (1.45,0), rotation=pi/2))
fb_system.add(gdstk.Reference(via_stack_6, (6.21,9.8), rotation=pi/2))
fb_system.add(gdstk.Reference(via_stack, (7.4,4)))
fb_system.add(gdstk.Reference(via_stack_2, (6.21,3.18)))
fb_system.add(gdstk.Reference(via_stack_2, (6.21,4.82)))
fb_system.add(gdstk.Reference(via_stack_2, (3.83,3.18)))
fb_system.add(gdstk.Reference(via_stack_2, (6.21,1.54)))
fb_system.add(gdstk.Reference(via_stack_4, (6.21,0)))
fb_system.add(gdstk.Reference(via_stack_6, (6.21,0), rotation=pi/2))
fb_system.add(gdstk.Reference(via_stack_2, (3.83,1.54)))
fb_system.add(gdstk.Reference(via_stack_4, (3.83,0)))
fb_system.add(gdstk.Reference(via_stack_6, (3.83,0), rotation=pi/2))
fb_system.add(gdstk.Reference(via_stack_6, (3.83,7.9), rotation=pi/2))
fb_system.add(gdstk.Reference(via_stack_6, (1.45,7.9), rotation=pi/2))
fb_system.add(gdstk.Reference(via_stack_8, (14.54,8.39)))
fb_system.add(gdstk.Reference(via_stack_4, (13.35,9.34)))
fb_system.add(gdstk.Reference(via_stack, (9.78,7.22)))
fb_system.add(gdstk.Reference(via_stack_4, (15.73,0)))
fb_system.add(gdstk.Reference(nmoshv_1, (10.82,4.32)))
fb_system.add(gdstk.Reference(via_stack_6, (15.73,0), rotation=pi/2))
fb_system.add(gdstk.Reference(via_stack_2, (13.35,1.54)))
fb_system.add(gdstk.Reference(via_stack, (14.54,7.22)))
fb_system.add(gdstk.Reference(via_stack_4, (13.35,0)))
fb_system.add(gdstk.Reference(via_stack_6, (13.35,0), rotation=pi/2))
fb_system.add(gdstk.Reference(via_stack_2, (10.97,1.54)))
fb_system.add(gdstk.Reference(via_stack_4, (10.97,0)))
fb_system.add(gdstk.Reference(via_stack_6, (10.97,0), rotation=pi/2))
fb_system.add(gdstk.Reference(via_stack, (12.16,7.22)))
fb_system.add(gdstk.Reference(via_stack, (12.16,4)))
fb_system.add(gdstk.Reference(via_stack_2, (10.97,3.18)))
fb_system.add(gdstk.Reference(via_stack, (9.78,0.78)))
fb_system.add(gdstk.Reference(via_stack_2, (10.97,4.82)))
fb_system.add(gdstk.Reference(via_stack_6, (15.73,9.8), rotation=pi/2))
fb_system.add(gdstk.Reference(via_stack, (14.54,0.78)))
fb_system.add(gdstk.Reference(via_stack_6, (10.97,9.8), rotation=pi/2))
fb_system.add(gdstk.Reference(via_stack, (12.16,0.78)))
fb_system.add(gdstk.Reference(via_stack_2, (13.35,3.18)))
fb_system.add(gdstk.Reference(via_stack_2, (13.35,4.82)))
fb_system.add(gdstk.Reference(via_stack_2, (15.73,4.82)))
fb_system.add(gdstk.Reference(via_stack_2, (15.73,3.18)))
fb_system.add(gdstk.Reference(via_stack_2, (15.73,1.54)))
fb_system.add(gdstk.Reference(via_stack_2, (15.73,6.46)))
fb_system.add(gdstk.Reference(nmoshv_1, (10.82,2.68)))
fb_system.add(gdstk.Reference(via_stack, (9.78,4)))
fb_system.add(gdstk.Reference(via_stack_2, (10.97,6.46)))
fb_system.add(gdstk.Reference(via_stack_6, (10.97,7.9), rotation=pi/2))
fb_system.add(gdstk.Reference(nmoshv_1, (13.2,2.68)))
fb_system.add(gdstk.Reference(via_stack_9, (14.54,4)))
fb_system.add(gdstk.Reference(via_stack_2, (15.73,6.46)))
fb_system.add(gdstk.Reference(via_stack_6, (15.73,7.9), rotation=pi/2))
fb_system.add(gdstk.Reference(nmoshv_1, (13.2,4.32)))
fb_system.add(gdstk.Label('GND', (0.035,0), layer=30, texttype=25))
fb_system.add(gdstk.Label('V_mem', (0.025,8.39), layer=30, texttype=25))
fb_system.add(gdstk.Label('VDD', (0.035,20), layer=30, texttype=25))
fb_system.add(gdstk.Label('out', (17.22,9.34), layer=30, texttype=25))
fb_system.add(gdstk.Label('nwell', (0.875,9.9), layer=31, texttype=1))

lib.write_gds('FB_system.gds')
